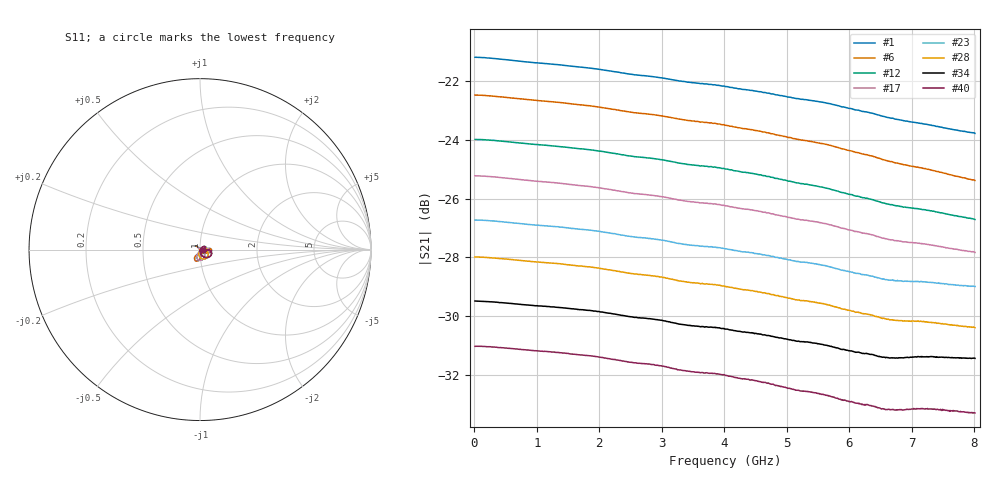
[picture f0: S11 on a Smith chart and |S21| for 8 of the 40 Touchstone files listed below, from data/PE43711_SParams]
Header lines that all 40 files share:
! Device ID: PE43711P
! Serial: 5
! Lot: A0137A
! Temp: 25C
! VDD: 3.300
! VSS: 0.000
! Control_Hi: 3.000
! Control_Lo: 0.000
! Port 1: RF1
! Port 2: RF2
! ThroughPath:1-2
#  Hz  S  RI  R  50
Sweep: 10 MHz to 8.01 GHz
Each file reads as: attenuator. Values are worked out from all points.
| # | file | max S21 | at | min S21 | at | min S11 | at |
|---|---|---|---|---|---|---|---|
| 1 | S_PE43711P_25C_3p300V_3p000V_0p000V_LS_ATT_20p00dB_S2P_SN_5_A0137A.s2p | -21.19 dB | 10 MHz | -23.8 dB | 8.01 GHz | -53.7 dB | 7.07 GHz |
| 2 | S_PE43711P_25C_3p300V_3p000V_0p000V_LS_ATT_20p25dB_S2P_SN_5_A0137A.s2p | -21.46 dB | 10 MHz | -24.2 dB | 8.01 GHz | -54.1 dB | 7.07 GHz |
| 3 | S_PE43711P_25C_3p300V_3p000V_0p000V_LS_ATT_20p50dB_S2P_SN_5_A0137A.s2p | -21.70 dB | 30 MHz | -24.4 dB | 8.01 GHz | -54.4 dB | 7.14 GHz |
| 4 | S_PE43711P_25C_3p300V_3p000V_0p000V_LS_ATT_20p75dB_S2P_SN_5_A0137A.s2p | -21.97 dB | 40 MHz | -24.8 dB | 8.01 GHz | -54.3 dB | 7.14 GHz |
| 5 | S_PE43711P_25C_3p300V_3p000V_0p000V_LS_ATT_21p00dB_S2P_SN_5_A0137A.s2p | -22.22 dB | 40 MHz | -25.0 dB | 8.01 GHz | -54.3 dB | 7.14 GHz |
| 6 | S_PE43711P_25C_3p300V_3p000V_0p000V_LS_ATT_21p25dB_S2P_SN_5_A0137A.s2p | -22.48 dB | 40 MHz | -25.4 dB | 8.01 GHz | -54.1 dB | 7.14 GHz |
| 7 | S_PE43711P_25C_3p300V_3p000V_0p000V_LS_ATT_21p50dB_S2P_SN_5_A0137A.s2p | -22.70 dB | 10 MHz | -25.1 dB | 8.01 GHz | -42.9 dB | 7.51 GHz |
| 8 | S_PE43711P_25C_3p300V_3p000V_0p000V_LS_ATT_21p75dB_S2P_SN_5_A0137A.s2p | -22.97 dB | 40 MHz | -25.5 dB | 8.01 GHz | -42.9 dB | 7.5 GHz |
| 9 | S_PE43711P_25C_3p300V_3p000V_0p000V_LS_ATT_22p00dB_S2P_SN_5_A0137A.s2p | -23.21 dB | 50 MHz | -25.7 dB | 8.01 GHz | -42.8 dB | 7.5 GHz |
| 10 | S_PE43711P_25C_3p300V_3p000V_0p000V_LS_ATT_22p25dB_S2P_SN_5_A0137A.s2p | -23.47 dB | 40 MHz | -26.1 dB | 8.01 GHz | -42.8 dB | 7.5 GHz |
| 11 | S_PE43711P_25C_3p300V_3p000V_0p000V_LS_ATT_22p50dB_S2P_SN_5_A0137A.s2p | -23.73 dB | 40 MHz | -26.3 dB | 8.01 GHz | -42.8 dB | 7.5 GHz |
| 12 | S_PE43711P_25C_3p300V_3p000V_0p000V_LS_ATT_22p75dB_S2P_SN_5_A0137A.s2p | -23.99 dB | 50 MHz | -26.7 dB | 8.01 GHz | -42.8 dB | 7.5 GHz |
| 13 | S_PE43711P_25C_3p300V_3p000V_0p000V_LS_ATT_23p00dB_S2P_SN_5_A0137A.s2p | -24.20 dB | 20 MHz | -26.6 dB | 8.01 GHz | -42.8 dB | 7.5 GHz |
| 14 | S_PE43711P_25C_3p300V_3p000V_0p000V_LS_ATT_23p25dB_S2P_SN_5_A0137A.s2p | -24.47 dB | 30 MHz | -27.0 dB | 8.01 GHz | -42.8 dB | 7.5 GHz |
| 15 | S_PE43711P_25C_3p300V_3p000V_0p000V_LS_ATT_23p50dB_S2P_SN_5_A0137A.s2p | -24.72 dB | 30 MHz | -27.3 dB | 8.01 GHz | -42.8 dB | 7.51 GHz |
| 16 | S_PE43711P_25C_3p300V_3p000V_0p000V_LS_ATT_23p75dB_S2P_SN_5_A0137A.s2p | -24.98 dB | 10 MHz | -27.7 dB | 8.01 GHz | -42.8 dB | 7.5 GHz |
| 17 | S_PE43711P_25C_3p300V_3p000V_0p000V_LS_ATT_24p00dB_S2P_SN_5_A0137A.s2p | -25.23 dB | 40 MHz | -27.8 dB | 8.01 GHz | -42.8 dB | 7.5 GHz |
| 18 | S_PE43711P_25C_3p300V_3p000V_0p000V_LS_ATT_24p25dB_S2P_SN_5_A0137A.s2p | -25.49 dB | 20 MHz | -28.2 dB | 8.01 GHz | -42.7 dB | 7.5 GHz |
| 19 | S_PE43711P_25C_3p300V_3p000V_0p000V_LS_ATT_24p50dB_S2P_SN_5_A0137A.s2p | -25.74 dB | 10 MHz | -28.5 dB | 8.01 GHz | -42.8 dB | 7.5 GHz |
| 20 | S_PE43711P_25C_3p300V_3p000V_0p000V_LS_ATT_24p75dB_S2P_SN_5_A0137A.s2p | -25.97 dB | 40 MHz | -28.2 dB | 8.01 GHz | -47.3 dB | 3.88 GHz |
| 21 | S_PE43711P_25C_3p300V_3p000V_0p000V_LS_ATT_25p00dB_S2P_SN_5_A0137A.s2p | -26.22 dB | 50 MHz | -28.5 dB | 8.01 GHz | -47.3 dB | 3.88 GHz |
| 22 | S_PE43711P_25C_3p300V_3p000V_0p000V_LS_ATT_25p25dB_S2P_SN_5_A0137A.s2p | -26.49 dB | 20 MHz | -28.9 dB | 8.01 GHz | -47.3 dB | 3.88 GHz |
| 23 | S_PE43711P_25C_3p300V_3p000V_0p000V_LS_ATT_25p50dB_S2P_SN_5_A0137A.s2p | -26.73 dB | 40 MHz | -29.0 dB | 8.01 GHz | -47.3 dB | 3.88 GHz |
| 24 | S_PE43711P_25C_3p300V_3p000V_0p000V_LS_ATT_25p75dB_S2P_SN_5_A0137A.s2p | -26.99 dB | 40 MHz | -29.4 dB | 8.01 GHz | -47.3 dB | 3.88 GHz |
| 25 | S_PE43711P_25C_3p300V_3p000V_0p000V_LS_ATT_26p00dB_S2P_SN_5_A0137A.s2p | -27.24 dB | 40 MHz | -29.7 dB | 8 GHz | -47.3 dB | 3.88 GHz |
| 26 | S_PE43711P_25C_3p300V_3p000V_0p000V_LS_ATT_26p25dB_S2P_SN_5_A0137A.s2p | -27.51 dB | 50 MHz | -30.1 dB | 7.99 GHz | -47.3 dB | 3.88 GHz |
| 27 | S_PE43711P_25C_3p300V_3p000V_0p000V_LS_ATT_26p50dB_S2P_SN_5_A0137A.s2p | -27.72 dB | 40 MHz | -30.0 dB | 8.01 GHz | -47.3 dB | 3.88 GHz |
| 28 | S_PE43711P_25C_3p300V_3p000V_0p000V_LS_ATT_26p75dB_S2P_SN_5_A0137A.s2p | -27.99 dB | 30 MHz | -30.4 dB | 8.01 GHz | -47.3 dB | 3.88 GHz |
| 29 | S_PE43711P_25C_3p300V_3p000V_0p000V_LS_ATT_27p00dB_S2P_SN_5_A0137A.s2p | -28.24 dB | 20 MHz | -30.6 dB | 8.01 GHz | -47.3 dB | 3.88 GHz |
| 30 | S_PE43711P_25C_3p300V_3p000V_0p000V_LS_ATT_27p25dB_S2P_SN_5_A0137A.s2p | -28.50 dB | 40 MHz | -31.1 dB | 8.01 GHz | -47.3 dB | 3.88 GHz |
| 31 | S_PE43711P_25C_3p300V_3p000V_0p000V_LS_ATT_27p50dB_S2P_SN_5_A0137A.s2p | -28.75 dB | 20 MHz | -31.2 dB | 8.01 GHz | -47.3 dB | 3.88 GHz |
| 32 | S_PE43711P_25C_3p300V_3p000V_0p000V_LS_ATT_27p75dB_S2P_SN_5_A0137A.s2p | -29.01 dB | 30 MHz | -31.6 dB | 8.01 GHz | -47.3 dB | 3.88 GHz |
| 33 | S_PE43711P_25C_3p300V_3p000V_0p000V_LS_ATT_28p00dB_S2P_SN_5_A0137A.s2p | -29.22 dB | 20 MHz | -31.1 dB | 6.66 GHz | -50.4 dB | 4.2 GHz |
| 34 | S_PE43711P_25C_3p300V_3p000V_0p000V_LS_ATT_28p25dB_S2P_SN_5_A0137A.s2p | -29.49 dB | 40 MHz | -31.4 dB | 7.95 GHz | -50.4 dB | 4.2 GHz |
| 35 | S_PE43711P_25C_3p300V_3p000V_0p000V_LS_ATT_28p50dB_S2P_SN_5_A0137A.s2p | -29.74 dB | 40 MHz | -31.7 dB | 8 GHz | -50.3 dB | 4.2 GHz |
| 36 | S_PE43711P_25C_3p300V_3p000V_0p000V_LS_ATT_28p75dB_S2P_SN_5_A0137A.s2p | -30.00 dB | 10 MHz | -32.1 dB | 7.96 GHz | -50.4 dB | 4.2 GHz |
| 37 | S_PE43711P_25C_3p300V_3p000V_0p000V_LS_ATT_29p00dB_S2P_SN_5_A0137A.s2p | -30.25 dB | 30 MHz | -32.2 dB | 6.73 GHz | -50.3 dB | 4.2 GHz |
| 38 | S_PE43711P_25C_3p300V_3p000V_0p000V_LS_ATT_29p25dB_S2P_SN_5_A0137A.s2p | -30.51 dB | 40 MHz | -32.6 dB | 7.95 GHz | -50.3 dB | 4.2 GHz |
| 39 | S_PE43711P_25C_3p300V_3p000V_0p000V_LS_ATT_29p50dB_S2P_SN_5_A0137A.s2p | -30.76 dB | 40 MHz | -32.9 dB | 7.95 GHz | -50.3 dB | 4.2 GHz |
| 40 | S_PE43711P_25C_3p300V_3p000V_0p000V_LS_ATT_29p75dB_S2P_SN_5_A0137A.s2p | -31.03 dB | 40 MHz | -33.3 dB | 8.01 GHz | -50.3 dB | 4.19 GHz |
